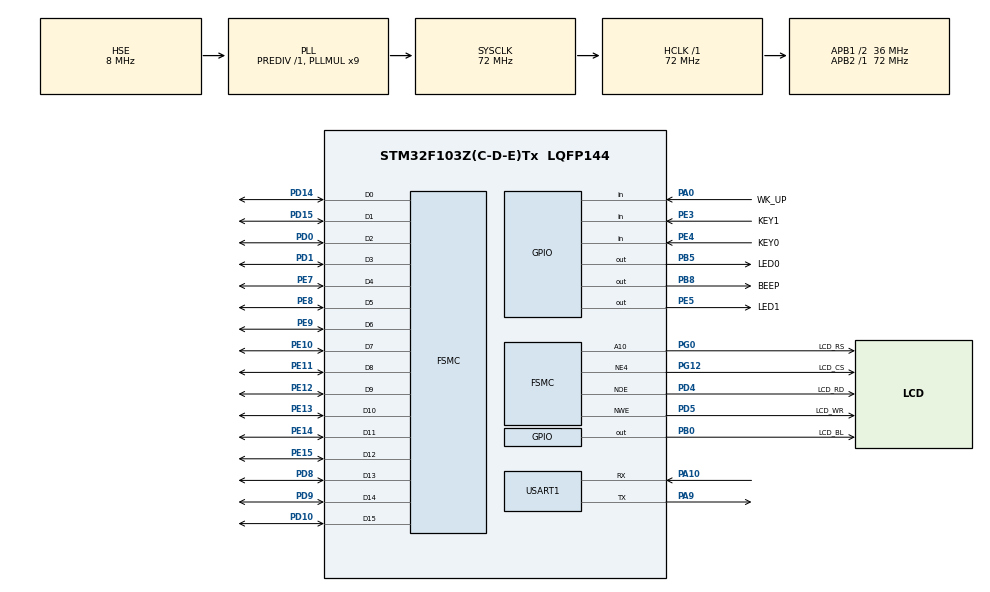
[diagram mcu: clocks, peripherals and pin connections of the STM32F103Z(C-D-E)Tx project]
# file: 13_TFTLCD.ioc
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FSMC.AddressSetupTime1=0
FSMC.BusTurnAroundDuration1=0
FSMC.DataSetupTime1=1
FSMC.ExtendedAddressSetupTime1=0
FSMC.ExtendedBusTurnAroundDuration1=0
FSMC.ExtendedDataSetupTime1=1
FSMC.ExtendedMode1=FSMC_EXTENDED_MODE_ENABLE
Mcu.Family=STM32F1
Mcu.Name=STM32F103Z(C-D-E)Tx
Mcu.Package=LQFP144
NVIC.PriorityGroup=NVIC_PRIORITYGROUP_2
NVIC.USART1_IRQn=true\:2\:2\:true\:false\:true\:true\:true\:true
OSC_IN.Mode=HSE-External-Oscillator
OSC_IN.Signal=RCC_OSC_IN
OSC_OUT.Mode=HSE-External-Oscillator
OSC_OUT.Signal=RCC_OSC_OUT
PA0-WKUP.GPIO_Label=WK_UP
PA0-WKUP.GPIO_PuPd=GPIO_PULLDOWN
PA0-WKUP.Signal=GPIO_Input
PA10.Mode=Asynchronous
PA10.Signal=USART1_RX
PA13.Mode=Serial_Wire
PA13.Signal=SYS_JTMS-SWDIO
PA14.Mode=Serial_Wire
PA14.Signal=SYS_JTCK-SWCLK
PA9.Mode=Asynchronous
PA9.Signal=USART1_TX
PB0.GPIO_Label=LCD_BL
PB0.GPIO_PuPd=GPIO_PULLUP
PB0.GPIO_Speed=GPIO_SPEED_FREQ_HIGH
PB0.PinState=GPIO_PIN_SET
PB0.Signal=GPIO_Output
PB5.GPIO_Label=LED0
PB5.GPIO_PuPd=GPIO_PULLUP
PB5.GPIO_Speed=GPIO_SPEED_FREQ_HIGH
PB5.PinState=GPIO_PIN_SET
PB5.Signal=GPIO_Output
PB8.GPIO_Label=BEEP
PB8.GPIO_ModeDefaultOutputPP=GPIO_MODE_OUTPUT_PP
PB8.GPIO_PuPd=GPIO_PULLDOWN
PB8.GPIO_Speed=GPIO_SPEED_FREQ_HIGH
PB8.PinState=GPIO_PIN_RESET
PB8.Signal=GPIO_Output
PC14-OSC32_IN.Mode=LSE-External-Oscillator
PC14-OSC32_IN.Signal=RCC_OSC32_IN
PC15-OSC32_OUT.Mode=LSE-External-Oscillator
PC15-OSC32_OUT.Signal=RCC_OSC32_OUT
PD0.Signal=FSMC_D2_DA2
PD1.Signal=FSMC_D3_DA3
PD10.Signal=FSMC_D15_DA15
PD14.Signal=FSMC_D0_DA0
PD15.Signal=FSMC_D1_DA1
PD4.GPIO_Label=LCD_RD
PD4.Signal=FSMC_NOE
PD5.GPIO_Label=LCD_WR
PD5.Signal=FSMC_NWE
PD8.Signal=FSMC_D13_DA13
PD9.Signal=FSMC_D14_DA14
PE10.Signal=FSMC_D7_DA7
PE11.Signal=FSMC_D8_DA8
PE12.Signal=FSMC_D9_DA9
PE13.Signal=FSMC_D10_DA10
PE14.Signal=FSMC_D11_DA11
PE15.Signal=FSMC_D12_DA12
PE3.GPIO_Label=KEY1
PE3.GPIO_PuPd=GPIO_PULLUP
PE3.Signal=GPIO_Input
PE4.GPIO_Label=KEY0
PE4.GPIO_PuPd=GPIO_PULLUP
PE4.Signal=GPIO_Input
PE5.GPIO_Label=LED1
PE5.GPIO_PuPd=GPIO_PULLUP
PE5.GPIO_Speed=GPIO_SPEED_FREQ_HIGH
PE5.PinState=GPIO_PIN_SET
PE5.Signal=GPIO_Output
PE7.Signal=FSMC_D4_DA4
PE8.Signal=FSMC_D5_DA5
PE9.Signal=FSMC_D6_DA6
PG0.GPIO_Label=LCD_RS
PG0.Signal=FSMC_A10
PG12.GPIO_Label=LCD_CS
PG12.Mode=NorPsramChipSelect4_1
PG12.Signal=FSMC_NE4
ProjectManager.HeapSize=0x200
ProjectManager.StackSize=0x400
ProjectManager.TargetToolchain=STM32CubeIDE
RCC.AHBFreq_Value=72000000
RCC.APB1CLKDivider=RCC_HCLK_DIV2
RCC.APB1Freq_Value=36000000
RCC.APB1TimFreq_Value=72000000
RCC.APB2Freq_Value=72000000
RCC.APB2TimFreq_Value=72000000
RCC.HCLKFreq_Value=72000000
RCC.PLLMUL=RCC_PLL_MUL9
RCC.PLLSourceVirtual=RCC_PLLSOURCE_HSE
RCC.SYSCLKFreq_VALUE=72000000
RCC.SYSCLKSource=RCC_SYSCLKSOURCE_PLLCLK
RCC.USBFreq_Value=72000000
SH.FSMC_A10.0=FSMC_A10,A10_1
SH.FSMC_D0_DA0.0=FSMC_D0,16b-d1
SH.FSMC_D10_DA10.0=FSMC_D10,16b-d1
SH.FSMC_D11_DA11.0=FSMC_D11,16b-d1
SH.FSMC_D12_DA12.0=FSMC_D12,16b-d1
SH.FSMC_D13_DA13.0=FSMC_D13,16b-d1
SH.FSMC_D14_DA14.0=FSMC_D14,16b-d1
SH.FSMC_D15_DA15.0=FSMC_D15,16b-d1
SH.FSMC_D1_DA1.0=FSMC_D1,16b-d1
SH.FSMC_D2_DA2.0=FSMC_D2,16b-d1
SH.FSMC_D3_DA3.0=FSMC_D3,16b-d1
SH.FSMC_D4_DA4.0=FSMC_D4,16b-d1
SH.FSMC_D5_DA5.0=FSMC_D5,16b-d1
SH.FSMC_D6_DA6.0=FSMC_D6,16b-d1
SH.FSMC_D7_DA7.0=FSMC_D7,16b-d1
SH.FSMC_D8_DA8.0=FSMC_D8,16b-d1
SH.FSMC_D9_DA9.0=FSMC_D9,16b-d1
SH.FSMC_NOE.0=FSMC_NOE,Lcd1
SH.FSMC_NWE.0=FSMC_NWE,Lcd1
USART1.VirtualMode=VM_ASYNC
board=custom

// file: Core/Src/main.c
/* USER CODE BEGIN Header */

/* USER CODE END Header */
#include "main.h"
#include "usart.h"
#include "gpio.h"
#include "fsmc.h"

/* USER CODE BEGIN Includes */
#include "../../BSP/LED/led.h"
#include "../../BSP/KEY/key.h"
#include "../../BSP/LCD/lcd.h"
#include "../../SYSTEM/delay/delay.h"
/* USER CODE END Includes */

void SystemClock_Config(void);

int main(void)
{
  /* USER CODE BEGIN 1 */
  uint8_t x = 0;
  uint8_t lcd_id[12];
  /* USER CODE END 1 */

  /* MCU Configuration--------------------------------------------------------*/

  /* Reset of all peripherals, Initializes the Flash interface and the Systick. */
  HAL_Init();

  /* Configure the system clock */
  SystemClock_Config();

  /* USER CODE BEGIN SysInit */
  delay_init(72);						   /* 初始化延时函数 */
  /* USER CODE END SysInit */

  /* Initialize all configured peripherals */
  MX_GPIO_Init();
  MX_FSMC_Init();
  MX_USART1_UART_Init();
  /* USER CODE BEGIN 2 */
  lcd_init();                                         /* 初始化LCD */
  g_point_color = RED;
  sprintf((char *)lcd_id, "LCD ID:%04X", lcddev.id);  /* 将LCD ID打印到lcd_id数组 */
  /* USER CODE END 2 */

  /* Infinite loop */
  /* USER CODE BEGIN WHILE */
  while (1)
  {
	  switch (x)
	  {
	  case 0:
		  lcd_clear(WHITE);
		  break;

	  case 1:
		  lcd_clear(BLACK);
		  break;

	  case 2:
		  lcd_clear(BLUE);
		  break;

	  case 3:
		  lcd_clear(RED);
		  break;

	  case 4:
		  lcd_clear(MAGENTA);
		  break;

	  case 5:
		  lcd_clear(GREEN);
		  break;

	  case 6:
		  lcd_clear(CYAN);
		  break;

	  case 7:
		  lcd_clear(YELLOW);
		  break;

	  case 8:
		  lcd_clear(BRRED);
		  break;

	  case 9:
		  lcd_clear(GRAY);
		  break;

	  case 10:
		  lcd_clear(LGRAY);
		  break;

	  case 11:
		  lcd_clear(BROWN);
		  break;
	  }

	  lcd_show_string(10, 40, 240, 32, 32, "STM32", RED);
	  lcd_show_string(10, 80, 240, 24, 24, "TFTLCD TEST", RED);
	  lcd_show_string(10, 110, 240, 16, 16, "ATOM@ALIENTEK", RED);
	  lcd_show_string(10, 130, 240, 16, 16, (char *)lcd_id, RED); /* 显示LCD ID */
	  x++;

	  if (x == 12)
		  x = 0;

	  LED0_TOGGLE(); /*红灯闪烁*/
	  delay_ms(1000);

    /* USER CODE END WHILE */

  }
}

void SystemClock_Config(void)
{
  RCC_OscInitTypeDef RCC_OscInitStruct = {0};
  RCC_ClkInitTypeDef RCC_ClkInitStruct = {0};

  /** Initializes the RCC Oscillators according to the specified parameters
  * in the RCC_OscInitTypeDef structure.
  */
  RCC_OscInitStruct.OscillatorType = RCC_OSCILLATORTYPE_HSE;
  RCC_OscInitStruct.HSEState = RCC_HSE_ON;
  RCC_OscInitStruct.HSEPredivValue = RCC_HSE_PREDIV_DIV1;
  RCC_OscInitStruct.HSIState = RCC_HSI_ON;
  RCC_OscInitStruct.PLL.PLLState = RCC_PLL_ON;
  RCC_OscInitStruct.PLL.PLLSource = RCC_PLLSOURCE_HSE;
  RCC_OscInitStruct.PLL.PLLMUL = RCC_PLL_MUL9;
  if (HAL_RCC_OscConfig(&RCC_OscInitStruct) != HAL_OK)
  {
    Error_Handler();
  }

  /** Initializes the CPU, AHB and APB buses clocks
  */
  RCC_ClkInitStruct.ClockType = RCC_CLOCKTYPE_HCLK|RCC_CLOCKTYPE_SYSCLK
                              |RCC_CLOCKTYPE_PCLK1|RCC_CLOCKTYPE_PCLK2;
  RCC_ClkInitStruct.SYSCLKSource = RCC_SYSCLKSOURCE_PLLCLK;
  RCC_ClkInitStruct.AHBCLKDivider = RCC_SYSCLK_DIV1;
  RCC_ClkInitStruct.APB1CLKDivider = RCC_HCLK_DIV2;
  RCC_ClkInitStruct.APB2CLKDivider = RCC_HCLK_DIV1;

  if (HAL_RCC_ClockConfig(&RCC_ClkInitStruct, FLASH_LATENCY_2) != HAL_OK)
  {
    Error_Handler();
  }
}

void Error_Handler(void)
{
  __disable_irq();
  while (1)
  {
  }
}
